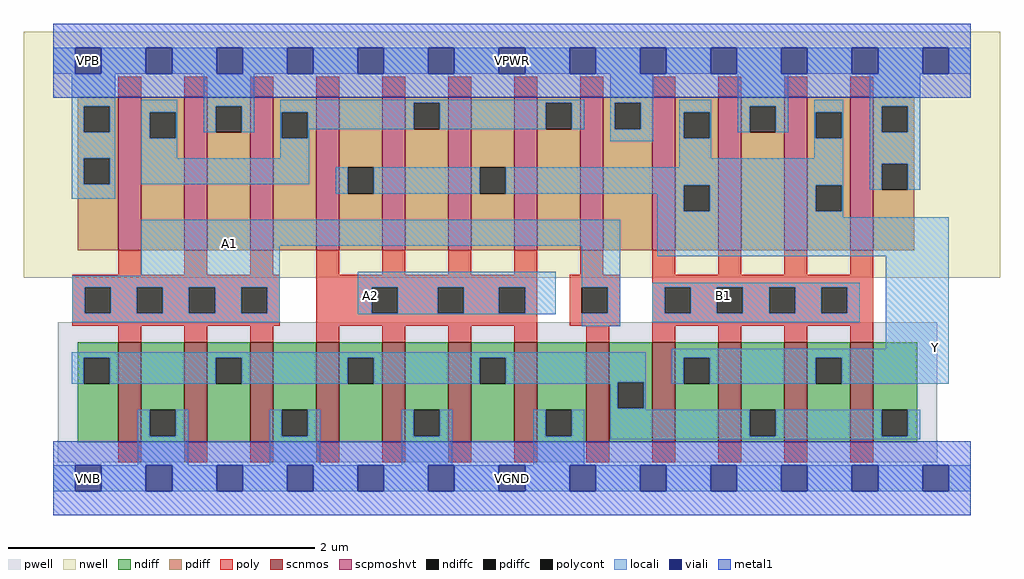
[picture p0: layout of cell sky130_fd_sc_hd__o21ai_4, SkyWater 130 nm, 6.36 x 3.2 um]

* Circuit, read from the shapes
.subckt sky130_fd_sc_hd__o21ai_4 A1 A2 B1 VGND VNB VPB VPWR Y
XM1 VGND A1 n1 VNB sky130_fd_pr__nfet_01v8 w=0.65 l=0.15 m=4
XM2 n1 A2 VGND VNB sky130_fd_pr__nfet_01v8 w=0.65 l=0.15 m=4
XM3 Y B1 n1 VNB sky130_fd_pr__nfet_01v8 w=0.65 l=0.15 m=4
XM4 n2 A1 VPWR VPB sky130_fd_pr__pfet_01v8_hvt w=1 l=0.15 m=4
XM5 Y A2 n2 VPB sky130_fd_pr__pfet_01v8_hvt w=1 l=0.15 m=4
XM6 Y B1 VPWR VPB sky130_fd_pr__pfet_01v8_hvt w=1 l=0.15 m=4
.ends

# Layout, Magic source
magic
tech sky130B
magscale 1 2
<< nwell >>
rect -38 261 1234 582
<< pwell >>
rect 6 21 1152 203
rect 29 -17 63 21
<< scnmos >>
rect 85 47 115 177
rect 171 47 201 177
rect 257 47 287 177
rect 343 47 373 177
rect 429 47 459 177
rect 515 47 545 177
rect 601 47 631 177
rect 695 47 725 177
rect 781 47 811 177
rect 867 47 897 177
rect 953 47 983 177
rect 1039 47 1069 177
<< scpmoshvt >>
rect 85 297 115 497
rect 171 297 201 497
rect 257 297 287 497
rect 343 297 373 497
rect 429 297 459 497
rect 515 297 545 497
rect 601 297 631 497
rect 687 297 717 497
rect 781 297 811 497
rect 867 297 897 497
rect 953 297 983 497
rect 1039 297 1069 497
<< ndiff >>
rect 32 157 85 177
rect 32 123 40 157
rect 74 123 85 157
rect 32 47 85 123
rect 115 89 171 177
rect 115 55 126 89
rect 160 55 171 89
rect 115 47 171 55
rect 201 157 257 177
rect 201 123 212 157
rect 246 123 257 157
rect 201 47 257 123
rect 287 89 343 177
rect 287 55 298 89
rect 332 55 343 89
rect 287 47 343 55
rect 373 157 429 177
rect 373 123 384 157
rect 418 123 429 157
rect 373 47 429 123
rect 459 89 515 177
rect 459 55 470 89
rect 504 55 515 89
rect 459 47 515 55
rect 545 157 601 177
rect 545 123 556 157
rect 590 123 601 157
rect 545 47 601 123
rect 631 89 695 177
rect 631 55 642 89
rect 676 55 695 89
rect 631 47 695 55
rect 725 125 781 177
rect 725 91 736 125
rect 770 91 781 125
rect 725 47 781 91
rect 811 157 867 177
rect 811 123 822 157
rect 856 123 867 157
rect 811 47 867 123
rect 897 89 953 177
rect 897 55 908 89
rect 942 55 953 89
rect 897 47 953 55
rect 983 157 1039 177
rect 983 123 994 157
rect 1028 123 1039 157
rect 983 47 1039 123
rect 1069 89 1126 177
rect 1069 55 1080 89
rect 1114 55 1126 89
rect 1069 47 1126 55
<< pdiff >>
rect 32 485 85 497
rect 32 451 40 485
rect 74 451 85 485
rect 32 417 85 451
rect 32 383 40 417
rect 74 383 85 417
rect 32 297 85 383
rect 115 477 171 497
rect 115 443 126 477
rect 160 443 171 477
rect 115 297 171 443
rect 201 485 257 497
rect 201 451 212 485
rect 246 451 257 485
rect 201 297 257 451
rect 287 477 343 497
rect 287 443 298 477
rect 332 443 343 477
rect 287 297 343 443
rect 373 405 429 497
rect 373 371 384 405
rect 418 371 429 405
rect 373 297 429 371
rect 459 489 515 497
rect 459 455 470 489
rect 504 455 515 489
rect 459 297 515 455
rect 545 405 601 497
rect 545 371 556 405
rect 590 371 601 405
rect 545 297 601 371
rect 631 489 687 497
rect 631 455 642 489
rect 676 455 687 489
rect 631 297 687 455
rect 717 489 781 497
rect 717 455 732 489
rect 766 455 781 489
rect 717 297 781 455
rect 811 477 867 497
rect 811 443 822 477
rect 856 443 867 477
rect 811 382 867 443
rect 811 348 822 382
rect 856 348 867 382
rect 811 297 867 348
rect 897 485 953 497
rect 897 451 908 485
rect 942 451 953 485
rect 897 297 953 451
rect 983 477 1039 497
rect 983 443 994 477
rect 1028 443 1039 477
rect 983 382 1039 443
rect 983 348 994 382
rect 1028 348 1039 382
rect 983 297 1039 348
rect 1069 485 1122 497
rect 1069 451 1080 485
rect 1114 451 1122 485
rect 1069 410 1122 451
rect 1069 376 1080 410
rect 1114 376 1122 410
rect 1069 297 1122 376
<< ndiffc >>
rect 40 123 74 157
rect 126 55 160 89
rect 212 123 246 157
rect 298 55 332 89
rect 384 123 418 157
rect 470 55 504 89
rect 556 123 590 157
rect 642 55 676 89
rect 736 91 770 125
rect 822 123 856 157
rect 908 55 942 89
rect 994 123 1028 157
rect 1080 55 1114 89
<< pdiffc >>
rect 40 451 74 485
rect 40 383 74 417
rect 126 443 160 477
rect 212 451 246 485
rect 298 443 332 477
rect 384 371 418 405
rect 470 455 504 489
rect 556 371 590 405
rect 642 455 676 489
rect 732 455 766 489
rect 822 443 856 477
rect 822 348 856 382
rect 908 451 942 485
rect 994 443 1028 477
rect 994 348 1028 382
rect 1080 451 1114 485
rect 1080 376 1114 410
<< poly >>
rect 85 497 115 523
rect 171 497 201 523
rect 257 497 287 523
rect 343 497 373 523
rect 429 497 459 523
rect 515 497 545 523
rect 601 497 631 523
rect 687 497 717 523
rect 781 497 811 523
rect 867 497 897 523
rect 953 497 983 523
rect 1039 497 1069 523
rect 85 265 115 297
rect 171 265 201 297
rect 257 265 287 297
rect 343 265 373 297
rect 429 265 459 297
rect 515 265 545 297
rect 601 265 631 297
rect 687 265 717 297
rect 781 265 811 297
rect 867 265 897 297
rect 953 265 983 297
rect 1039 265 1069 297
rect 25 249 295 265
rect 25 215 41 249
rect 75 215 109 249
rect 143 215 177 249
rect 211 215 245 249
rect 279 215 295 249
rect 25 199 295 215
rect 343 249 631 265
rect 343 215 415 249
rect 449 215 501 249
rect 535 215 581 249
rect 615 215 631 249
rect 343 199 631 215
rect 673 249 739 265
rect 673 215 689 249
rect 723 215 739 249
rect 673 199 739 215
rect 781 249 1069 265
rect 781 215 797 249
rect 831 215 865 249
rect 899 215 933 249
rect 967 215 1001 249
rect 1035 215 1069 249
rect 781 199 1069 215
rect 85 177 115 199
rect 171 177 201 199
rect 257 177 287 199
rect 343 177 373 199
rect 429 177 459 199
rect 515 177 545 199
rect 601 177 631 199
rect 695 177 725 199
rect 781 177 811 199
rect 867 177 897 199
rect 953 177 983 199
rect 1039 177 1069 199
rect 85 21 115 47
rect 171 21 201 47
rect 257 21 287 47
rect 343 21 373 47
rect 429 21 459 47
rect 515 21 545 47
rect 601 21 631 47
rect 695 21 725 47
rect 781 21 811 47
rect 867 21 897 47
rect 953 21 983 47
rect 1039 21 1069 47
<< polycont >>
rect 41 215 75 249
rect 109 215 143 249
rect 177 215 211 249
rect 245 215 279 249
rect 415 215 449 249
rect 501 215 535 249
rect 581 215 615 249
rect 689 215 723 249
rect 797 215 831 249
rect 865 215 899 249
rect 933 215 967 249
rect 1001 215 1035 249
<< locali >>
rect 0 527 29 561
rect 63 527 121 561
rect 155 527 213 561
rect 247 527 305 561
rect 339 527 397 561
rect 431 527 489 561
rect 523 527 581 561
rect 615 527 673 561
rect 707 527 765 561
rect 799 527 857 561
rect 891 527 949 561
rect 983 527 1041 561
rect 1075 527 1133 561
rect 1167 527 1196 561
rect 24 485 81 527
rect 24 451 40 485
rect 74 451 81 485
rect 24 417 81 451
rect 24 383 40 417
rect 74 383 81 417
rect 115 477 162 493
rect 115 443 126 477
rect 160 443 162 477
rect 196 485 262 527
rect 196 451 212 485
rect 246 451 262 485
rect 296 489 692 493
rect 296 477 470 489
rect 115 417 162 443
rect 296 443 298 477
rect 332 455 470 477
rect 504 455 642 489
rect 676 455 692 489
rect 726 489 782 527
rect 726 455 732 489
rect 766 455 782 489
rect 332 443 334 455
rect 296 417 334 443
rect 726 439 782 455
rect 816 477 858 493
rect 816 443 822 477
rect 856 443 858 477
rect 892 485 958 527
rect 892 451 908 485
rect 942 451 958 485
rect 992 477 1030 493
rect 115 383 334 417
rect 816 417 858 443
rect 992 443 994 477
rect 1028 443 1030 477
rect 992 417 1030 443
rect 816 405 1030 417
rect 24 364 81 383
rect 368 371 384 405
rect 418 371 556 405
rect 590 382 1030 405
rect 590 371 822 382
rect 787 348 822 371
rect 856 348 994 382
rect 1028 348 1030 382
rect 1064 485 1130 527
rect 1064 451 1080 485
rect 1114 451 1130 485
rect 1064 410 1130 451
rect 1064 376 1080 410
rect 1114 376 1130 410
rect 787 340 1030 348
rect 115 303 739 337
rect 115 264 295 303
rect 25 249 295 264
rect 25 215 41 249
rect 75 215 109 249
rect 143 215 177 249
rect 211 215 245 249
rect 279 215 295 249
rect 25 203 295 215
rect 397 249 655 269
rect 397 215 415 249
rect 449 215 501 249
rect 535 215 581 249
rect 615 215 655 249
rect 397 214 655 215
rect 689 249 739 303
rect 787 289 1167 340
rect 723 215 739 249
rect 689 198 739 215
rect 781 249 1051 255
rect 781 215 797 249
rect 831 215 865 249
rect 899 215 933 249
rect 967 215 1001 249
rect 1035 215 1051 249
rect 781 203 1051 215
rect 1085 169 1167 289
rect 24 157 772 164
rect 24 123 40 157
rect 74 123 212 157
rect 246 123 384 157
rect 418 123 556 157
rect 590 125 772 157
rect 590 123 736 125
rect 726 91 736 123
rect 770 91 772 125
rect 806 157 1167 169
rect 806 123 822 157
rect 856 123 994 157
rect 1028 123 1167 157
rect 726 89 772 91
rect 110 55 126 89
rect 160 55 176 89
rect 110 17 176 55
rect 282 55 298 89
rect 332 55 348 89
rect 282 17 348 55
rect 454 55 470 89
rect 504 55 520 89
rect 454 17 520 55
rect 626 55 642 89
rect 676 55 692 89
rect 626 17 692 55
rect 726 55 908 89
rect 942 55 1080 89
rect 1114 55 1130 89
rect 726 51 1130 55
rect 0 -17 29 17
rect 63 -17 121 17
rect 155 -17 213 17
rect 247 -17 305 17
rect 339 -17 397 17
rect 431 -17 489 17
rect 523 -17 581 17
rect 615 -17 673 17
rect 707 -17 765 17
rect 799 -17 857 17
rect 891 -17 949 17
rect 983 -17 1041 17
rect 1075 -17 1133 17
rect 1167 -17 1196 17
<< viali >>
rect 29 527 63 561
rect 121 527 155 561
rect 213 527 247 561
rect 305 527 339 561
rect 397 527 431 561
rect 489 527 523 561
rect 581 527 615 561
rect 673 527 707 561
rect 765 527 799 561
rect 857 527 891 561
rect 949 527 983 561
rect 1041 527 1075 561
rect 1133 527 1167 561
rect 29 -17 63 17
rect 121 -17 155 17
rect 213 -17 247 17
rect 305 -17 339 17
rect 397 -17 431 17
rect 489 -17 523 17
rect 581 -17 615 17
rect 673 -17 707 17
rect 765 -17 799 17
rect 857 -17 891 17
rect 949 -17 983 17
rect 1041 -17 1075 17
rect 1133 -17 1167 17
<< metal1 >>
rect 0 561 1196 592
rect 0 527 29 561
rect 63 527 121 561
rect 155 527 213 561
rect 247 527 305 561
rect 339 527 397 561
rect 431 527 489 561
rect 523 527 581 561
rect 615 527 673 561
rect 707 527 765 561
rect 799 527 857 561
rect 891 527 949 561
rect 983 527 1041 561
rect 1075 527 1133 561
rect 1167 527 1196 561
rect 0 496 1196 527
rect 0 17 1196 48
rect 0 -17 29 17
rect 63 -17 121 17
rect 155 -17 213 17
rect 247 -17 305 17
rect 339 -17 397 17
rect 431 -17 489 17
rect 523 -17 581 17
rect 615 -17 673 17
rect 707 -17 765 17
rect 799 -17 857 17
rect 891 -17 949 17
rect 983 -17 1041 17
rect 1075 -17 1133 17
rect 1167 -17 1196 17
rect 0 -48 1196 -17
<< labels >>
flabel locali s 1133 153 1167 187 0 FreeSans 340 0 0 0 Y
port 8 nsew signal output
flabel locali s 857 221 891 255 0 FreeSans 340 0 0 0 B1
port 3 nsew signal input
flabel locali s 397 221 431 255 0 FreeSans 340 0 0 0 A2
port 2 nsew signal input
flabel locali s 213 289 247 323 0 FreeSans 340 0 0 0 A1
port 1 nsew signal input
flabel pwell s 29 -17 63 17 0 FreeSans 200 0 0 0 VNB
port 5 nsew ground bidirectional
flabel nwell s 29 527 63 561 0 FreeSans 200 0 0 0 VPB
port 6 nsew power bidirectional
flabel metal1 s 29 527 63 561 0 FreeSans 200 0 0 0 VPWR
port 7 nsew power bidirectional abutment
flabel metal1 s 29 -17 63 17 0 FreeSans 200 0 0 0 VGND
port 4 nsew ground bidirectional abutment
rlabel comment s 0 0 0 0 4 o21ai_4
rlabel metal1 s 0 -48 1196 48 1 VGND
port 4 nsew ground bidirectional abutment
rlabel metal1 s 0 496 1196 592 1 VPWR
port 7 nsew power bidirectional abutment
<< properties >>
string FIXED_BBOX 0 0 1196 544
string GDS_END 1315420
string GDS_FILE $PDKPATH/libs.ref/sky130_fd_sc_hd/gds/sky130_fd_sc_hd.gds
string GDS_START 1307366
string LEFclass CORE
string LEFsite unithd
string LEFsymmetry X Y R90
string path 0.000 0.000 5.980 0.000 
<< end >>
